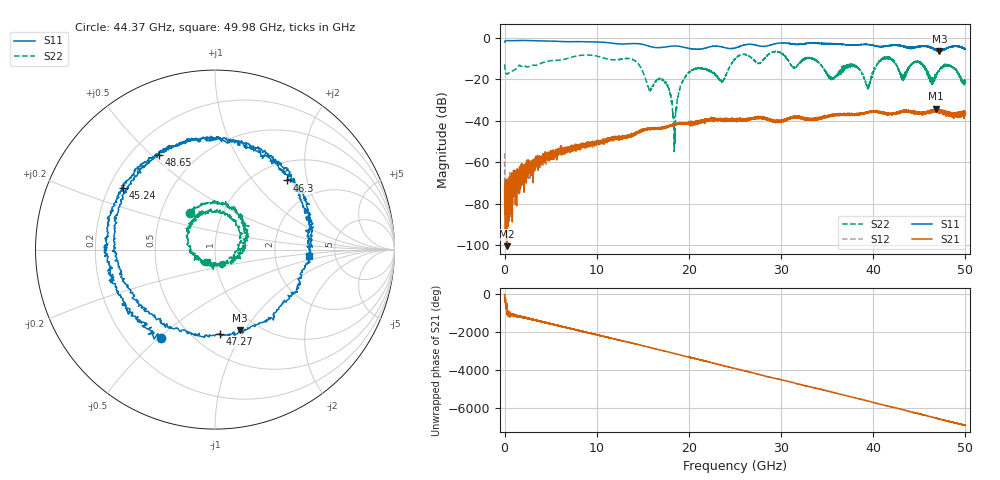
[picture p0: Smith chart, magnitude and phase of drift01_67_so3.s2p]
!Created with skrf (http://scikit-rf.org).
# Hz S RI R 50.0
!freq ReS11 ImS11 ReS21 ImS21 ReS12 ImS12 ReS22 ImS22
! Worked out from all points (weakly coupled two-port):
!   10001 points, 300 kHz to 50 GHz, reference 50 ohm
!   highest |S21| = -34.33 dB at 46.78 GHz (marker M1); lowest = -100.6 dB at 250.3 MHz (marker M2)
!   lowest |S11| = -6.5 dB at 47.18 GHz (marker M3), VSWR 2.78, Z = 41.1 - j47.6 ohm
!   |S11| at or under -10 dB: nowhere
!   |S22| runs from -54.9 to -6.7 dB; largest |S21 - S12| = 0.0054
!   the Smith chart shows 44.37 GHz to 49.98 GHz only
!   S11 on the Smith chart (normalised r, x): 44.37 GHz: 0.35, -0.51; 45.24 GHz: 0.26, +0.29; 46.3 GHz: 1.36, +1.52; 47.27 GHz: 0.66, -0.80; 48.65 GHz: 0.31, +0.53; 49.98 GHz: 3.20, -0.31
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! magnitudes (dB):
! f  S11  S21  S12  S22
! 300 kHz  -2.1  -74.0  -55.7  -12.9
! 250.3 MHz  -1.4  -100.6  -68.4  -17.5
! 8.335 GHz  -1.9  -52.0  -51.6  -8.5
! 16.67 GHz  -4.8  -43.3  -43.9  -20.0
! 17.74 GHz  -4.3  -42.8  -42.9  -24.1
! 18.45 GHz  -4.1  -42.0  -41.8  -47.0
! 19.95 GHz  -5.1  -41.4  -41.6  -17.0
! 23.63 GHz  -4.5  -39.7  -39.6  -20.8
! 25 GHz  -5.0  -39.5  -39.3  -10.3
! 33.34 GHz  -2.6  -39.8  -39.6  -9.9
! 39.44 GHz  -3.4  -36.3  -35.9  -23.7
! 41.67 GHz  -3.9  -36.5  -37.2  -10.2
! 43.24 GHz  -4.2  -35.7  -35.4  -19.5
! 44.37 GHz  -4.8  -35.8  -35.9  -12.0
! 45.24 GHz  -4.2  -36.5  -36.5  -12.6
! 46.3 GHz  -5.1  -35.7  -35.5  -21.3
! 46.78 GHz  -6.1  -34.3  -35.6  -19.0
! 47.18 GHz  -6.5  -35.7  -35.6  -15.6
! 47.27 GHz  -6.5  -34.8  -35.7  -15.1
! 48.65 GHz  -4.2  -37.1  -37.2  -14.0
! 49.98 GHz  -5.6  -36.5  -37.1  -21.6
! 50 GHz  -5.7  -36.3  -35.7  -22.0
